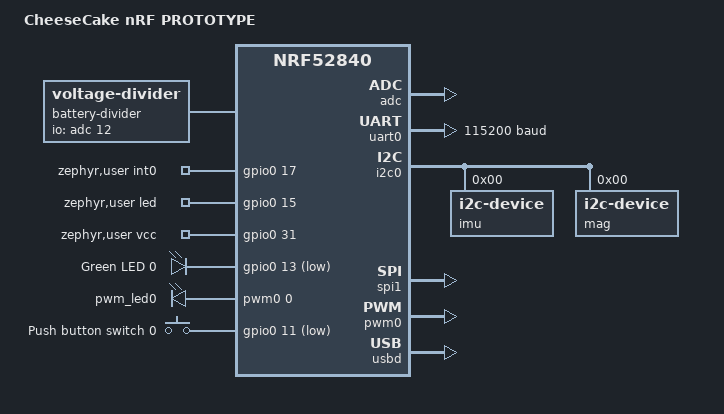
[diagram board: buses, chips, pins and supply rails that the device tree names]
/dts-v1/;
#include <nordic/nrf52840_qiaa.dtsi>
#include "cheesecake_nrf_prototype-pinctrl.dtsi"

/ {
	model = "CheeseCake nRF PROTOTYPE";
	compatible = "sorakage,cheesecake-nrf-prototype";

	chosen {
		zephyr,sram = &sram0;
		zephyr,flash = &flash0;
		zephyr,code-partition = &slot0_partition;
		zephyr,console = &cdc_acm_uart0;
		zephyr,shell-uart = &cdc_acm_uart0;
		zephyr,uart-mcumgr = &cdc_acm_uart0;
	};

	/* These aliases are provided for compatibility with samples */
	aliases {
		led0 = &led0;
		pwm-led0 = &pwm_led0;
		sw0 = &button0;
		bootloader-led0 = &led0;
		mcuboot-button0 = &button0;
		mcuboot-led0 = &led0;
		watchdog0 = &wdt0;
	};

	battery-divider {
		compatible = "voltage-divider";
		status = "okay";
		io-channels = <&adc 12>; // Measure VDDHDIV5
		output-ohms = <1>;
		full-ohms = <5>;
	};

	zephyr,user {
		int0-gpios = <&gpio0 17 0>;
		led-gpios = <&gpio0 15 GPIO_OPEN_SOURCE>;
		// clk-gpios = <&gpio0 20 GPIO_OPEN_DRAIN>; // Uncomment and set to correct pin if using an external clock (crystal oscillator)
		vcc-gpios = <&gpio0 31 0>;
	};

	leds {
		compatible = "gpio-leds";
		led0: led_0 {
			gpios = <&gpio0 13 GPIO_ACTIVE_LOW>;
			label = "Green LED 0";
		};
	};

	pwmleds {
		compatible = "pwm-leds";
		pwm_led0: pwm_led_0 {
			pwms = <&pwm0 0 PWM_MSEC(20) PWM_POLARITY_INVERTED>;
		};
	};

	buttons {
		compatible = "gpio-keys";
		button0: button_0 {
			gpios = <&gpio0 11 (GPIO_PULL_UP | GPIO_ACTIVE_LOW)>;
			label = "Push button switch 0";
			zephyr,code = <INPUT_KEY_0>;
		};
	};
};

&flash0 {
	partitions {
		compatible = "fixed-partitions";
		#address-cells = <1>;
		#size-cells = <1>;

		boot_partition: partition@0 {
			label = "mcuboot";
			reg = <0x00000000 DT_SIZE_K(48)>;
		};

		slot0_partition: partition@c000 {
			label = "image-0";
			reg = <0x0000c000 DT_SIZE_K(472)>;
		};

		slot1_partition: partition@82000 {
			label = "image-1";
			reg = <0x00082000 DT_SIZE_K(472)>;
		};

		storage_partition: partition@f8000 {
			label = "storage";
			reg = <0x000f8000 DT_SIZE_K(32)>;
		};
	};
};

&gpiote {
	status = "okay";
};

&gpio0 {
	status = "okay";
};

&gpio1 {
	status = "okay";
};

&adc {
	status = "okay";
};

&uart0 {
	compatible = "nordic,nrf-uarte";
	status = "okay";
	current-speed = <115200>;
	pinctrl-0 = <&uart0_default>;
	pinctrl-1 = <&uart0_sleep>;
	pinctrl-names = "default", "sleep";
};

&i2c0 {
	compatible = "nordic,nrf-twim";
	status = "okay";
	pinctrl-0 = <&i2c0_default>;
	pinctrl-1 = <&i2c0_sleep>;
	pinctrl-names = "default", "sleep";

	imu: imu@0 { // any address out of range (00, 7f, etc. will search all addresses and stored address first if available, specify an address here to search first otherwise
		compatible = "i2c-device";
		label = "imu";
		reg = <0>;
	};

	mag: mag@0 {
		compatible = "i2c-device";
		label = "mag";
		reg = <0>;
	};
}; 

&spi1 {
	compatible = "nordic,nrf-spim";
	status = "okay";
	pinctrl-0 = <&spi1_default>;
	pinctrl-1 = <&spi1_sleep>;
	pinctrl-names = "default", "sleep";
};

&pwm0 {
	status = "okay";
	pinctrl-0 = <&pwm0_default>;
	pinctrl-1 = <&pwm0_sleep>;
	pinctrl-names = "default", "sleep";
};

&reg1 {
	regulator-initial-mode = <NRF5X_REG_MODE_DCDC>;
};

zephyr_udc0: &usbd {
	compatible = "nordic,nrf-usbd";
	status = "okay";
	cdc_acm_uart0: cdc_acm_uart0 {
		compatible = "zephyr,cdc-acm-uart";
	};
};

&nfct {
	status = "disabled";
};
